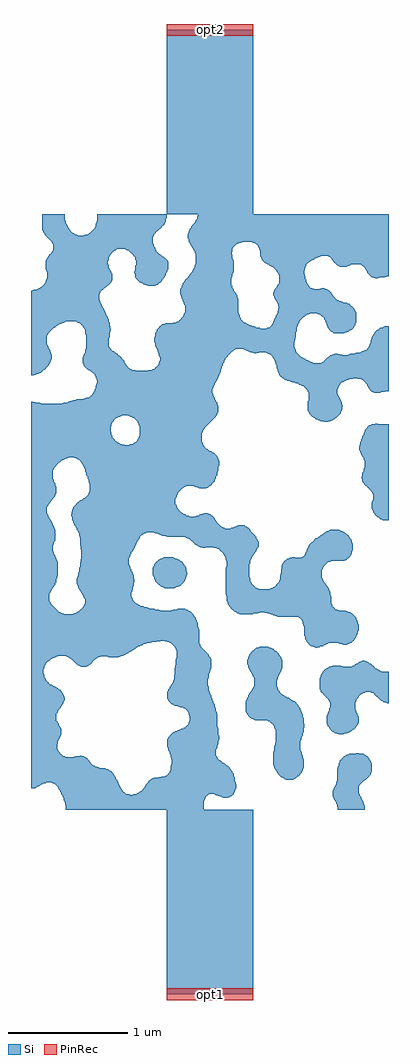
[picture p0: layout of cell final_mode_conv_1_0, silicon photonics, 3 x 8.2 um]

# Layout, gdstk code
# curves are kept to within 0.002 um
import gdstk
lib = gdstk.Library(unit=1e-6, precision=1e-09)
def R(c, l, rs):  # rectangles x0, y0, x1, y1
    for r in rs: c.add(gdstk.rectangle(r[:2], r[2:], *l))
def P(c, l, *ps):  # polygons
    for p in ps: c.add(gdstk.Polygon(p, *l))
Si = (1, 0)
PinRec = (1, 10)

final_mode_conv_1_0 = lib.new_cell('final_mode_conv_1_0')
R(final_mode_conv_1_0, Si, [(-0.363,-4.05,0.363,-2.5), (-0.363,2.5,0.363,4.05)])
P(final_mode_conv_1_0, Si, [(0.64,-2.249),(0.6,-2.228),(0.571,-2.2),(0.563,-2.19),(0.56,-2.179),(0.551,-2.17),(0.55,-2.16),(0.541,-2.15),(0.54,-2.136),(0.531,-2.12),(0.532,-2.02),(0.54,-2.003),(0.541,-1.97),(0.55,-1.946),(0.551,-1.93),(0.551,-1.83),(0.541,-1.81),(0.54,-1.8),(0.5,-1.759),(0.49,-1.758),(0.48,-1.75),(0.39,-1.749),(0.37,-1.746),(0.36,-1.739),(0.35,-1.739),(0.311,-1.7),(0.31,-1.69),(0.302,-1.68),(0.302,-1.59),(0.706,-1.59),(0.739,-1.62),(0.749,-1.64),(0.758,-1.65),(0.759,-1.66),(0.768,-1.67),(0.77,-1.69),(0.778,-1.7),(0.78,-1.723),(0.786,-1.73),(0.789,-1.74),(0.788,-1.85),(0.78,-1.861),(0.778,-1.88),(0.77,-1.89),(0.768,-1.91),(0.759,-1.93),(0.76,-2.003),(0.766,-2.01),(0.77,-2.035),(0.779,-2.05),(0.78,-2.068),(0.788,-2.08),(0.788,-2.15),(0.78,-2.161),(0.776,-2.18),(0.769,-2.19),(0.753,-2.21),(0.72,-2.239),(0.71,-2.24),(0.7,-2.248)],
  [(0.302,-1.59),(0.31,-1.575),(0.312,-1.56),(0.32,-1.551),(0.322,-1.54),(0.36,-1.487),(0.371,-1.46),(0.37,-1.392),(0.361,-1.38),(0.36,-1.37),(0.351,-1.36),(0.35,-1.353),(0.333,-1.33),(0.33,-1.318),(0.322,-1.31),(0.32,-1.289),(0.313,-1.28),(0.312,-1.25),(0.314,-1.24),(0.32,-1.233),(0.325,-1.21),(0.345,-1.18),(0.36,-1.164),(0.369,-1.16),(0.39,-1.142),(0.405,-1.14),(0.42,-1.131),(0.49,-1.132),(0.5,-1.14),(0.52,-1.145),(0.55,-1.164),(0.577,-1.19),(0.58,-1.198),(0.598,-1.22),(0.6,-1.233),(0.607,-1.24),(0.609,-1.25),(0.608,-1.31),(0.6,-1.323),(0.597,-1.34),(0.579,-1.37),(0.578,-1.38),(0.569,-1.39),(0.567,-1.41),(0.56,-1.419),(0.56,-1.46),(0.567,-1.47),(0.57,-1.49),(0.587,-1.51),(0.59,-1.519),(0.629,-1.55),(0.64,-1.552),(0.65,-1.561),(0.66,-1.562),(0.67,-1.571),(0.68,-1.572),(0.706,-1.59)],
  [(1.1,-1.869),(1.08,-1.867),(1.069,-1.86),(1.05,-1.858),(1.042,-1.85),(1.03,-1.845),(1.004,-1.82),(1,-1.81),(0.991,-1.8),(0.99,-1.79),(0.982,-1.78),(0.982,-1.71),(0.99,-1.701),(0.992,-1.68),(1.001,-1.67),(1.002,-1.65),(1.01,-1.638),(1.01,-1.608),(0.991,-1.57),(0.932,-1.51),(0.93,-1.497),(0.923,-1.49),(0.922,-1.4),(0.93,-1.386),(0.931,-1.37),(0.94,-1.358),(0.941,-1.35),(0.98,-1.311),(0.989,-1.31),(1,-1.301),(1.014,-1.3),(1.03,-1.292),(1.09,-1.291),(1.1,-1.292),(1.12,-1.301),(1.19,-1.3),(1.2,-1.292),(1.21,-1.29),(1.25,-1.262),(1.262,-1.26),(1.27,-1.253),(1.28,-1.251),(1.31,-1.252),(1.32,-1.26),(1.33,-1.261),(1.34,-1.27),(1.35,-1.273),(1.401,-1.32),(1.41,-1.322),(1.42,-1.331),(1.43,-1.332),(1.44,-1.34),(1.5,-1.343),(1.5,-1.605),(1.46,-1.599),(1.45,-1.59),(1.44,-1.587),(1.37,-1.52),(1.36,-1.519),(1.346,-1.51),(1.309,-1.51),(1.3,-1.517),(1.287,-1.52),(1.28,-1.527),(1.27,-1.53),(1.25,-1.55),(1.24,-1.564),(1.239,-1.57),(1.23,-1.579),(1.229,-1.59),(1.219,-1.61),(1.22,-1.654),(1.229,-1.67),(1.229,-1.68),(1.238,-1.69),(1.24,-1.705),(1.249,-1.72),(1.247,-1.78),(1.225,-1.81),(1.19,-1.839),(1.163,-1.85),(1.15,-1.859),(1.131,-1.86),(1.12,-1.867)],
  [(1.073,-2.5),(1.071,-2.46),(1.062,-2.45),(1.061,-2.44),(1.051,-2.43),(1.05,-2.422),(1.032,-2.39),(1.031,-2.35),(1.033,-2.34),(1.041,-2.33),(1.041,-2.32),(1.05,-2.31),(1.051,-2.3),(1.06,-2.288),(1.062,-2.27),(1.07,-2.257),(1.071,-2.16),(1.074,-2.14),(1.08,-2.132),(1.082,-2.11),(1.09,-2.101),(1.092,-2.09),(1.13,-2.051),(1.15,-2.041),(1.161,-2.04),(1.17,-2.033),(1.222,-2.03),(1.24,-2.026),(1.29,-2.033),(1.298,-2.04),(1.31,-2.044),(1.337,-2.07),(1.34,-2.081),(1.349,-2.09),(1.349,-2.1),(1.357,-2.11),(1.359,-2.12),(1.359,-2.18),(1.356,-2.19),(1.35,-2.197),(1.347,-2.21),(1.31,-2.248),(1.29,-2.259),(1.27,-2.278),(1.259,-2.29),(1.249,-2.31),(1.25,-2.362),(1.257,-2.37),(1.26,-2.384),(1.266,-2.39),(1.27,-2.403),(1.277,-2.41),(1.28,-2.423),(1.287,-2.43),(1.29,-2.451),(1.297,-2.46),(1.299,-2.47),(1.299,-2.5)],
  [(1.48,-0.07),(1.45,-0.068),(1.441,-0.06),(1.43,-0.059),(1.4,-0.036),(1.371,0),(1.371,0.01),(1.363,0.02),(1.361,0.03),(1.361,0.08),(1.362,0.09),(1.37,0.106),(1.37,0.151),(1.363,0.16),(1.36,0.172),(1.282,0.25),(1.28,0.269),(1.274,0.28),(1.273,0.29),(1.28,0.308),(1.281,0.33),(1.29,0.345),(1.291,0.36),(1.301,0.38),(1.301,0.43),(1.293,0.44),(1.29,0.454),(1.284,0.46),(1.281,0.47),(1.272,0.48),(1.27,0.491),(1.262,0.5),(1.26,0.515),(1.253,0.53),(1.253,0.55),(1.26,0.563),(1.264,0.59),(1.27,0.596),(1.272,0.61),(1.28,0.62),(1.283,0.64),(1.291,0.65),(1.291,0.66),(1.3,0.675),(1.304,0.69),(1.34,0.728),(1.35,0.73),(1.36,0.738),(1.5,0.739),(1.5,-0.07)],
  [(-1.21,-2.5),(-1.21,-2.471),(-1.216,-2.46),(-1.22,-2.429),(-1.228,-2.42),(-1.23,-2.404),(-1.239,-2.39),(-1.24,-2.38),(-1.249,-2.37),(-1.25,-2.36),(-1.259,-2.35),(-1.26,-2.34),(-1.276,-2.32),(-1.28,-2.309),(-1.313,-2.28),(-1.33,-2.276),(-1.338,-2.27),(-1.371,-2.27),(-1.38,-2.277),(-1.401,-2.28),(-1.41,-2.289),(-1.42,-2.29),(-1.44,-2.306),(-1.454,-2.31),(-1.46,-2.316),(-1.5,-2.32),(-1.5,-2.15),(-0.93,-2.15),(-0.88,-2.153),(-0.871,-2.16),(-0.86,-2.161),(-0.84,-2.172),(-0.803,-2.21),(-0.801,-2.22),(-0.791,-2.23),(-0.79,-2.24),(-0.781,-2.25),(-0.78,-2.26),(-0.771,-2.27),(-0.77,-2.281),(-0.762,-2.29),(-0.761,-2.3),(-0.752,-2.31),(-0.751,-2.32),(-0.741,-2.33),(-0.73,-2.349),(-0.7,-2.371),(-0.66,-2.379),(-0.62,-2.371),(-0.585,-2.35),(-0.57,-2.337),(-0.54,-2.297),(-0.539,-2.29),(-0.514,-2.26),(-0.49,-2.241),(-0.47,-2.231),(-0.42,-2.23),(-0.4,-2.223),(-0.375,-2.22),(-0.36,-2.211),(-0.34,-2.189),(-0.339,-2.18),(-0.33,-2.166),(-0.329,-2.15),(0.167,-2.15),(0.188,-2.18),(0.19,-2.192),(0.198,-2.2),(0.2,-2.221),(0.208,-2.23),(0.21,-2.262),(0.218,-2.28),(0.219,-2.32),(0.205,-2.36),(0.18,-2.387),(0.169,-2.39),(0.16,-2.398),(0.11,-2.399),(0.1,-2.396),(0.094,-2.39),(0.08,-2.389),(0.068,-2.38),(0.05,-2.378),(0.041,-2.37),(-0.009,-2.37),(-0.023,-2.38),(-0.041,-2.4),(-0.042,-2.41),(-0.05,-2.425),(-0.051,-2.5)],
  [(-1.5,-2.15),(-1.5,-1.67),(-1.273,-1.67),(-1.28,-1.677),(-1.284,-1.69),(-1.291,-1.7),(-1.291,-1.75),(-1.283,-1.76),(-1.28,-1.772),(-1.272,-1.78),(-1.27,-1.791),(-1.261,-1.8),(-1.26,-1.808),(-1.251,-1.82),(-1.25,-1.85),(-1.253,-1.88),(-1.26,-1.888),(-1.262,-1.9),(-1.27,-1.908),(-1.273,-1.92),(-1.281,-1.93),(-1.285,-1.97),(-1.28,-2),(-1.26,-2.029),(-1.232,-2.05),(-1.22,-2.053),(-1.21,-2.061),(-1.15,-2.061),(-1.13,-2.051),(-1.09,-2.047),(-1.06,-2.051),(-1.03,-2.072),(-1.014,-2.09),(-1.01,-2.1),(-0.98,-2.131),(-0.97,-2.133),(-0.963,-2.14),(-0.94,-2.145),(-0.933,-2.15)],
  [(-0.329,-2.15),(-0.32,-2.095),(-0.329,-2.06),(-0.33,-2.039),(-0.338,-2.03),(-0.34,-2.015),(-0.349,-2),(-0.35,-1.988),(-0.357,-1.98),(-0.358,-1.91),(-0.35,-1.901),(-0.348,-1.89),(-0.31,-1.852),(-0.299,-1.85),(-0.29,-1.841),(-0.28,-1.841),(-0.27,-1.833),(-0.249,-1.83),(-0.24,-1.822),(-0.226,-1.82),(-0.22,-1.814),(-0.21,-1.811),(-0.18,-1.78),(-0.176,-1.76),(-0.17,-1.752),(-0.169,-1.72),(-0.178,-1.7),(-0.18,-1.687),(-0.187,-1.68),(-0.19,-1.67),(0.05,-1.67),(0.056,-1.68),(0.059,-1.7),(0.06,-1.8),(0.068,-1.82),(0.07,-1.869),(0.076,-1.88),(0.077,-1.89),(0.077,-1.91),(0.07,-1.926),(0.069,-1.95),(0.066,-1.96),(0.06,-1.966),(0.057,-1.99),(0.05,-1.999),(0.05,-2.043),(0.072,-2.08),(0.112,-2.11),(0.12,-2.111),(0.13,-2.121),(0.15,-2.133),(0.167,-2.15)],
  [(-1.5,-1.67),(-1.5,-1.24),(-1.342,-1.24),(-1.37,-1.261),(-1.39,-1.29),(-1.392,-1.31),(-1.4,-1.329),(-1.4,-1.352),(-1.392,-1.37),(-1.391,-1.39),(-1.382,-1.4),(-1.38,-1.411),(-1.34,-1.45),(-1.33,-1.452),(-1.322,-1.46),(-1.31,-1.463),(-1.302,-1.47),(-1.29,-1.474),(-1.27,-1.49),(-1.26,-1.494),(-1.244,-1.51),(-1.24,-1.52),(-1.231,-1.53),(-1.23,-1.54),(-1.223,-1.55),(-1.222,-1.58),(-1.23,-1.593),(-1.233,-1.61),(-1.25,-1.632),(-1.252,-1.64),(-1.271,-1.66),(-1.273,-1.67)],
  [(-1.06,-1.3),(-1.09,-1.298),(-1.1,-1.289),(-1.11,-1.287),(-1.16,-1.24),(-0.97,-1.24),(-1,-1.275),(-1.03,-1.298)],
  [(-0.19,-1.67),(-0.2,-1.659),(-0.233,-1.64),(-0.26,-1.637),(-0.269,-1.63),(-0.29,-1.629),(-0.32,-1.616),(-0.347,-1.59),(-0.35,-1.579),(-0.358,-1.57),(-0.358,-1.51),(-0.35,-1.502),(-0.349,-1.49),(-0.34,-1.481),(-0.338,-1.47),(-0.31,-1.43),(-0.306,-1.41),(-0.299,-1.4),(-0.295,-1.31),(-0.29,-1.292),(-0.288,-1.24),(0.009,-1.24),(0.012,-1.27),(0.008,-1.32),(0,-1.329),(-0.002,-1.35),(-0.01,-1.36),(-0.012,-1.39),(-0.02,-1.406),(-0.02,-1.451),(-0.014,-1.46),(-0.01,-1.497),(-0.001,-1.51),(0,-1.527),(0.009,-1.54),(0.009,-1.55),(0.016,-1.56),(0.02,-1.581),(0.028,-1.59),(0.03,-1.605),(0.039,-1.62),(0.04,-1.634),(0.046,-1.64),(0.05,-1.67)],
  [(-1.5,-1.24),(-1.5,-0.98),(-0.094,-0.98),(-0.091,-1.01),(-0.09,-1.103),(-0.084,-1.11),(-0.08,-1.127),(-0.071,-1.14),(-0.012,-1.2),(0.007,-1.23),(0.009,-1.24),(-0.288,-1.24),(-0.28,-1.225),(-0.279,-1.17),(-0.289,-1.15),(-0.29,-1.139),(-0.33,-1.099),(-0.34,-1.097),(-0.35,-1.089),(-0.37,-1.088),(-0.4,-1.081),(-0.43,-1.087),(-0.481,-1.09),(-0.5,-1.099),(-0.526,-1.1),(-0.54,-1.108),(-0.56,-1.11),(-0.57,-1.119),(-0.58,-1.119),(-0.59,-1.128),(-0.6,-1.129),(-0.61,-1.138),(-0.62,-1.14),(-0.64,-1.157),(-0.651,-1.16),(-0.67,-1.176),(-0.68,-1.179),(-0.69,-1.188),(-0.701,-1.19),(-0.71,-1.199),(-0.72,-1.199),(-0.73,-1.208),(-0.751,-1.21),(-0.76,-1.217),(-0.77,-1.219),(-0.85,-1.219),(-0.86,-1.218),(-0.878,-1.21),(-0.912,-1.21),(-0.92,-1.215),(-0.942,-1.22),(-0.97,-1.24),(-1.16,-1.24),(-1.188,-1.22),(-1.2,-1.217),(-1.21,-1.209),(-1.27,-1.209),(-1.278,-1.21),(-1.29,-1.218),(-1.305,-1.22),(-1.31,-1.225),(-1.327,-1.23),(-1.342,-1.24)],
  [(0.89,-1.139),(0.85,-1.127),(0.812,-1.09),(0.81,-1.079),(0.802,-1.07),(0.8,-1.051),(0.792,-1.04),(0.79,-0.98),(1.249,-0.98),(1.246,-1),(1.24,-1.008),(1.238,-1.03),(1.23,-1.039),(1.229,-1.05),(1.219,-1.06),(1.208,-1.08),(1.19,-1.097),(1.18,-1.1),(1.17,-1.109),(1.13,-1.117),(1.113,-1.11),(1.09,-1.108),(1.07,-1.099),(0.999,-1.1),(0.99,-1.108),(0.977,-1.11),(0.97,-1.116),(0.956,-1.12),(0.95,-1.126),(0.928,-1.13),(0.92,-1.136)],
  [(-1.5,-0.98),(-1.5,-0.78),(-1.33,-0.78),(-1.27,-0.84),(-1.26,-0.842),(-1.25,-0.851),(-1.24,-0.851),(-1.22,-0.861),(-1.17,-0.861),(-1.17,-0.98)],
  [(-1.17,-0.98),(-1.17,-0.861),(-1.159,-0.86),(-1.15,-0.853),(-1.129,-0.85),(-1.12,-0.841),(-1.109,-0.84),(-1.07,-0.805),(-1.059,-0.79),(-1.058,-0.78),(-0.688,-0.78),(-0.688,-0.98)],
  [(-0.688,-0.98),(-0.688,-0.78),(-0.59,-0.782),(-0.58,-0.791),(-0.56,-0.793),(-0.552,-0.8),(-0.52,-0.803),(-0.509,-0.81),(-0.47,-0.813),(-0.461,-0.82),(-0.43,-0.822),(-0.41,-0.831),(-0.33,-0.831),(-0.31,-0.822),(-0.279,-0.82),(-0.27,-0.814),(-0.26,-0.812),(-0.21,-0.813),(-0.202,-0.82),(-0.19,-0.821),(-0.178,-0.83),(-0.17,-0.832),(-0.132,-0.87),(-0.13,-0.88),(-0.121,-0.89),(-0.12,-0.9),(-0.111,-0.91),(-0.11,-0.924),(-0.104,-0.93),(-0.1,-0.968),(-0.094,-0.98)],
  [(0.79,-0.98),(0.78,-0.922),(0.77,-0.906),(0.74,-0.88),(0.68,-0.878),(0.61,-0.882),(0.57,-0.879),(0.56,-0.877),(0.551,-0.87),(0.53,-0.867),(0.523,-0.86),(0.51,-0.859),(0.495,-0.85),(0.47,-0.848),(0.44,-0.841),(0.41,-0.848),(0.371,-0.85),(0.36,-0.858),(0.35,-0.859),(0.25,-0.858),(0.24,-0.85),(0.23,-0.849),(0.21,-0.839),(0.19,-0.823),(0.176,-0.81),(0.153,-0.78),(1.028,-0.78),(1.029,-0.79),(1.059,-0.82),(1.08,-0.824),(1.089,-0.83),(1.15,-0.832),(1.162,-0.84),(1.18,-0.843),(1.19,-0.851),(1.228,-0.89),(1.229,-0.9),(1.238,-0.91),(1.24,-0.933),(1.246,-0.94),(1.248,-0.95),(1.249,-0.98)],
  [(-1.5,-0.78),(-1.5,-0.47),(-1.281,-0.47),(-1.281,-0.53),(-1.283,-0.55),(-1.29,-0.566),(-1.291,-0.59),(-1.3,-0.601),(-1.301,-0.61),(-1.31,-0.62),(-1.312,-0.63),(-1.33,-0.65),(-1.332,-0.66),(-1.34,-0.668),(-1.351,-0.69),(-1.35,-0.745),(-1.33,-0.78)],
  [(-1.058,-0.78),(-1.05,-0.769),(-1.05,-0.736),(-1.059,-0.72),(-1.059,-0.71),(-1.069,-0.7),(-1.07,-0.692),(-1.088,-0.67),(-1.09,-0.662),(-1.105,-0.64),(-1.11,-0.618),(-1.116,-0.61),(-1.118,-0.6),(-1.117,-0.55),(-1.11,-0.54),(-1.108,-0.51),(-1.1,-0.5),(-1.097,-0.47),(-0.688,-0.47),(-0.688,-0.78)],
  [(-0.688,-0.78),(-0.688,-0.47),(-0.671,-0.47),(-0.662,-0.48),(-0.66,-0.493),(-0.653,-0.5),(-0.65,-0.517),(-0.641,-0.53),(-0.64,-0.557),(-0.635,-0.57),(-0.635,-0.58),(-0.64,-0.593),(-0.641,-0.62),(-0.651,-0.64),(-0.652,-0.66),(-0.66,-0.678),(-0.66,-0.705),(-0.652,-0.72),(-0.65,-0.733),(-0.64,-0.75),(-0.62,-0.77),(-0.61,-0.772),(-0.602,-0.78)],
  [(0.153,-0.78),(0.15,-0.762),(0.142,-0.75),(0.14,-0.713),(0.132,-0.68),(0.133,-0.47),(0.329,-0.47),(0.33,-0.544),(0.338,-0.56),(0.34,-0.581),(0.348,-0.59),(0.35,-0.601),(0.38,-0.631),(0.395,-0.64),(0.41,-0.643),(0.418,-0.65),(0.43,-0.651),(0.499,-0.65),(0.51,-0.642),(0.52,-0.641),(0.53,-0.633),(0.54,-0.631),(0.571,-0.6),(0.591,-0.56),(0.593,-0.52),(0.6,-0.49),(0.601,-0.47),(0.949,-0.47),(0.939,-0.49),(0.94,-0.552),(0.947,-0.56),(0.95,-0.573),(0.957,-0.58),(0.959,-0.59),(0.969,-0.6),(0.98,-0.621),(0.996,-0.64),(1,-0.655),(1.009,-0.67),(1.01,-0.691),(1.016,-0.7),(1.018,-0.71),(1.02,-0.766),(1.028,-0.78)],
  [(-1.5,-0.47),(-1.5,-0.26),(-1.311,-0.26),(-1.315,-0.28),(-1.32,-0.288),(-1.32,-0.323),(-1.315,-0.33),(-1.31,-0.353),(-1.303,-0.36),(-1.3,-0.373),(-1.294,-0.38),(-1.29,-0.398),(-1.282,-0.41),(-1.281,-0.47)],
  [(-1.097,-0.47),(-1.09,-0.461),(-1.087,-0.41),(-1.08,-0.39),(-1.08,-0.326),(-1.086,-0.3),(-1.089,-0.26),(-0.688,-0.26),(-0.688,-0.47)],
  [(-0.688,-0.47),(-0.688,-0.26),(-0.614,-0.26),(-0.62,-0.266),(-0.623,-0.28),(-0.63,-0.288),(-0.633,-0.3),(-0.66,-0.34),(-0.661,-0.35),(-0.67,-0.359),(-0.671,-0.37),(-0.68,-0.386),(-0.681,-0.44),(-0.671,-0.46),(-0.671,-0.47)],
  [(0.133,-0.47),(0.14,-0.45),(0.14,-0.423),(0.132,-0.4),(0.131,-0.38),(0.122,-0.37),(0.121,-0.36),(0.07,-0.31),(0.06,-0.309),(0.05,-0.3),(0,-0.295),(-0.04,-0.299),(-0.08,-0.297),(-0.089,-0.29),(-0.1,-0.289),(-0.11,-0.28),(-0.12,-0.277),(-0.138,-0.26),(0.409,-0.26),(0.408,-0.29),(0.4,-0.3),(0.399,-0.31),(0.39,-0.32),(0.388,-0.33),(0.37,-0.35),(0.366,-0.36),(0.35,-0.38),(0.349,-0.39),(0.34,-0.404),(0.337,-0.43),(0.33,-0.442),(0.329,-0.47)],
  [(0.601,-0.47),(0.601,-0.45),(0.61,-0.438),(0.611,-0.43),(0.65,-0.392),(0.69,-0.382),(0.74,-0.384),(0.77,-0.381),(0.788,-0.37),(0.81,-0.333),(0.811,-0.32),(0.82,-0.307),(0.824,-0.29),(0.849,-0.26),(1.197,-0.26),(1.199,-0.32),(1.197,-0.33),(1.19,-0.339),(1.186,-0.36),(1.17,-0.38),(1.14,-0.407),(1.11,-0.41),(1.017,-0.41),(1.01,-0.416),(0.992,-0.42),(0.98,-0.429),(0.959,-0.45),(0.949,-0.47)],
  [(-1.5,-0.26),(-1.5,-0.041),(-1.353,-0.041),(-1.351,-0.05),(-1.342,-0.06),(-1.34,-0.07),(-1.325,-0.09),(-1.301,-0.15),(-1.298,-0.19),(-1.301,-0.23),(-1.302,-0.24),(-1.31,-0.25),(-1.311,-0.26)],
  [(-1.089,-0.26),(-1.09,-0.219),(-1.099,-0.2),(-1.1,-0.18),(-1.109,-0.17),(-1.109,-0.16),(-1.118,-0.15),(-1.119,-0.14),(-1.128,-0.13),(-1.129,-0.12),(-1.139,-0.11),(-1.14,-0.1),(-1.149,-0.09),(-1.15,-0.078),(-1.158,-0.07),(-1.16,-0.041),(-0.688,-0.041),(-0.688,-0.26)],
  [(-0.688,-0.26),(-0.688,-0.041),(0.028,-0.041),(0.04,-0.061),(0.057,-0.08),(0.06,-0.09),(0.08,-0.111),(0.107,-0.13),(0.12,-0.132),(0.132,-0.14),(0.171,-0.14),(0.18,-0.134),(0.2,-0.131),(0.21,-0.122),(0.225,-0.12),(0.24,-0.111),(0.29,-0.113),(0.32,-0.133),(0.379,-0.2),(0.399,-0.23),(0.4,-0.239),(0.408,-0.25),(0.409,-0.26),(-0.138,-0.26),(-0.17,-0.229),(-0.18,-0.226),(-0.187,-0.22),(-0.2,-0.218),(-0.213,-0.21),(-0.36,-0.208),(-0.377,-0.2),(-0.4,-0.199),(-0.416,-0.19),(-0.43,-0.189),(-0.444,-0.18),(-0.46,-0.179),(-0.477,-0.17),(-0.49,-0.169),(-0.532,-0.17),(-0.54,-0.177),(-0.554,-0.18),(-0.56,-0.186),(-0.571,-0.19),(-0.59,-0.21),(-0.592,-0.22),(-0.6,-0.228),(-0.61,-0.246),(-0.614,-0.26)],
  [(0.849,-0.26),(0.89,-0.222),(0.9,-0.22),(0.92,-0.202),(0.927,-0.2),(0.98,-0.163),(0.995,-0.16),(1.01,-0.151),(1.04,-0.15),(1.09,-0.152),(1.101,-0.16),(1.11,-0.161),(1.13,-0.171),(1.164,-0.2),(1.186,-0.23),(1.19,-0.251),(1.197,-0.26)],
  [(-1.5,-0.041),(-1.5,0.35),(-1.32,0.35),(-1.321,0.28),(-1.313,0.27),(-1.31,0.249),(-1.302,0.24),(-1.3,0.223),(-1.292,0.21),(-1.291,0.16),(-1.3,0.144),(-1.303,0.13),(-1.361,0.06),(-1.362,0.05),(-1.37,0.041),(-1.37,-0.01),(-1.362,-0.02),(-1.36,-0.033),(-1.353,-0.041)],
  [(-1.16,-0.041),(-1.165,-0.02),(-1.16,-0.005),(-1.159,0.02),(-1.15,0.03),(-1.149,0.04),(-1.12,0.072),(-1.09,0.098),(-1.08,0.1),(-1.06,0.117),(-1.05,0.12),(-1.04,0.129),(-1.02,0.152),(-1.019,0.16),(-1.01,0.173),(-1.01,0.236),(-1.018,0.25),(-1.02,0.27),(-1.028,0.28),(-1.03,0.299),(-1.038,0.31),(-1.04,0.329),(-1.048,0.34),(-1.049,0.35),(-0.688,0.35),(-0.688,-0.041)],
  [(-0.688,-0.041),(-0.688,0.35),(0.069,0.35),(0.066,0.34),(0.06,0.333),(0.059,0.31),(0.05,0.295),(0.048,0.28),(0.04,0.271),(0.038,0.26),(0.01,0.226),(-0.02,0.204),(-0.06,0.197),(-0.1,0.202),(-0.11,0.21),(-0.13,0.212),(-0.14,0.22),(-0.201,0.22),(-0.21,0.212),(-0.221,0.21),(-0.25,0.182),(-0.28,0.14),(-0.283,0.12),(-0.29,0.11),(-0.291,0.1),(-0.29,0.067),(-0.281,0.05),(-0.28,0.039),(-0.257,0.01),(-0.22,-0.02),(-0.21,-0.021),(-0.201,-0.03),(-0.18,-0.033),(-0.17,-0.04),(-0.16,-0.041)],
  [(-0.14,-0.041),(-0.128,-0.04),(-0.11,-0.031),(-0.095,-0.03),(-0.09,-0.025),(-0.08,-0.021),(-0.067,-0.02),(-0.06,-0.014),(-0.04,-0.011),(-0.01,-0.015),(0.01,-0.026),(0.028,-0.041)],
  [(-1.5,0.35),(-1.5,0.809),(-0.743,0.809),(-0.75,0.804),(-0.771,0.8),(-0.78,0.791),(-0.786,0.79),(-0.81,0.77),(-0.82,0.754),(-0.831,0.73),(-0.831,0.66),(-0.83,0.652),(-0.821,0.64),(-0.82,0.63),(-0.8,0.605),(-0.77,0.579),(-0.76,0.577),(-0.75,0.569),(-0.73,0.567),(-0.714,0.56),(-0.688,0.56),(-0.688,0.35),(-1.049,0.35),(-1.05,0.36),(-1.058,0.37),(-1.06,0.383),(-1.067,0.39),(-1.07,0.402),(-1.078,0.41),(-1.08,0.42),(-1.089,0.43),(-1.1,0.44),(-1.11,0.443),(-1.12,0.451),(-1.13,0.452),(-1.145,0.46),(-1.16,0.461),(-1.183,0.46),(-1.19,0.455),(-1.214,0.45),(-1.233,0.44),(-1.24,0.433),(-1.251,0.43),(-1.31,0.371),(-1.312,0.36),(-1.32,0.35)],
  [(-0.688,0.35),(-0.688,0.56),(-0.67,0.568),(-0.65,0.57),(-0.62,0.59),(-0.6,0.618),(-0.598,0.63),(-0.59,0.639),(-0.589,0.65),(-0.59,0.721),(-0.598,0.73),(-0.6,0.743),(-0.606,0.75),(-0.609,0.76),(-0.64,0.791),(-0.65,0.793),(-0.657,0.8),(-0.67,0.802),(-0.683,0.809),(0.05,0.809),(0.048,0.8),(0.039,0.79),(-0.05,0.7),(-0.052,0.69),(-0.061,0.68),(-0.062,0.67),(-0.07,0.661),(-0.071,0.6),(-0.07,0.589),(-0.062,0.58),(-0.061,0.57),(-0.041,0.54),(0,0.51),(0.01,0.509),(0.019,0.5),(0.03,0.497),(0.067,0.46),(0.07,0.444),(0.078,0.43),(0.079,0.41),(0.077,0.39),(0.07,0.38),(0.069,0.35)],
  [(0.96,0.76),(0.93,0.763),(0.92,0.771),(0.91,0.771),(0.9,0.78),(0.89,0.781),(0.881,0.79),(0.87,0.793),(0.852,0.809),(1.078,0.809),(1.05,0.782),(1.01,0.761)],
  [(-1.5,0.809),(-1.5,0.926),(-1.474,0.92),(-1.43,0.918),(-1.415,0.91),(-1.26,0.909),(-1.248,0.91),(-1.23,0.918),(-1.196,0.92),(-1.18,0.929),(-1.164,0.93),(-1.15,0.939),(-1.129,0.94),(-1.12,0.947),(-1.058,0.95),(-1.04,0.958),(-1.02,0.96),(-0.99,0.986),(-0.979,1),(-0.977,1.01),(-0.97,1.017),(-0.968,1.03),(-0.96,1.041),(-0.957,1.07),(-0.95,1.08),(-0.949,1.095),(0.05,1.095),(0.049,1.09),(0.04,1.081),(0.038,1.07),(0.03,1.061),(0.027,1.04),(0.02,1.028),(0.02,1.002),(0.027,0.99),(0.03,0.969),(0.039,0.96),(0.04,0.949),(0.049,0.94),(0.05,0.93),(0.059,0.92),(0.06,0.908),(0.067,0.9),(0.069,0.89),(0.068,0.84),(0.06,0.831),(0.059,0.82),(0.05,0.809)],
  [(0.852,0.809),(0.833,0.83),(0.83,0.841),(0.822,0.85),(0.821,0.92),(0.822,0.93),(0.83,0.942),(0.831,0.99),(0.83,1),(0.822,1.01),(0.821,1.02),(0.78,1.06),(0.77,1.061),(0.761,1.07),(0.75,1.071),(0.74,1.08),(0.72,1.083),(0.712,1.09),(0.682,1.095),(1.122,1.095),(1.11,1.09),(1.09,1.07),(1.08,1.054),(1.077,1.04),(1.07,1.032),(1.07,0.996),(1.079,0.98),(1.08,0.969),(1.089,0.96),(1.09,0.95),(1.099,0.94),(1.1,0.932),(1.109,0.92),(1.11,0.899),(1.114,0.89),(1.108,0.85),(1.099,0.84),(1.097,0.83),(1.089,0.82),(1.078,0.809)],
  [(1.39,1.001),(1.38,1.002),(1.36,1.012),(1.341,1.03),(1.333,1.04),(1.33,1.051),(1.321,1.06),(1.32,1.07),(1.3,1.095),(1.5,1.095),(1.5,1.016),(1.44,1.01),(1.43,1.003),(1.42,1.001)],
  [(-1.5,1.151),(-1.5,1.286),(-1.331,1.286),(-1.332,1.28),(-1.34,1.271),(-1.341,1.26),(-1.35,1.247),(-1.351,1.24),(-1.38,1.205),(-1.42,1.172),(-1.431,1.17),(-1.44,1.161),(-1.455,1.16),(-1.47,1.152)],
  [(-0.949,1.095),(-0.95,1.116),(-0.958,1.13),(-0.959,1.14),(-0.968,1.15),(-0.97,1.157),(-1.009,1.19),(-1.02,1.193),(-1.03,1.201),(-1.059,1.23),(-1.069,1.25),(-1.069,1.286),(-0.736,1.286),(-0.722,1.27),(-0.72,1.259),(-0.711,1.25),(-0.71,1.241),(-0.69,1.217),(-0.67,1.199),(-0.66,1.198),(-0.651,1.19),(-0.6,1.187),(-0.5,1.189),(-0.48,1.199),(-0.47,1.2),(-0.43,1.241),(-0.428,1.26),(-0.42,1.277),(-0.42,1.286),(0.13,1.286),(0.129,1.28),(0.12,1.271),(0.119,1.26),(0.11,1.25),(0.106,1.23),(0.099,1.22),(0.096,1.2),(0.089,1.19),(0.087,1.17),(0.079,1.16),(0.079,1.15),(0.05,1.095)],
  [(0.682,1.095),(0.675,1.1),(0.65,1.102),(0.641,1.11),(0.63,1.111),(0.62,1.12),(0.61,1.122),(0.583,1.15),(0.58,1.162),(0.572,1.17),(0.57,1.191),(0.563,1.2),(0.56,1.231),(0.553,1.24),(0.55,1.261),(0.542,1.27),(0.541,1.28),(0.536,1.286),(0.8,1.286),(0.806,1.28),(0.846,1.26),(0.86,1.257),(0.87,1.249),(0.89,1.248),(0.933,1.25),(0.94,1.257),(0.95,1.26),(0.977,1.286),(1.5,1.286),(1.5,1.095),(1.3,1.095),(1.283,1.11),(1.265,1.12),(1.23,1.122),(1.175,1.12),(1.16,1.111),(1.147,1.11),(1.122,1.095)],
  [(-1.5,1.286),(-1.5,1.456),(-1.372,1.456),(-1.37,1.409),(-1.362,1.4),(-1.361,1.39),(-1.343,1.36),(-1.34,1.342),(-1.332,1.33),(-1.331,1.286)],
  [(-1.069,1.286),(-1.066,1.31),(-1.06,1.317),(-1.058,1.33),(-1.05,1.34),(-1.048,1.36),(-1.04,1.372),(-1.039,1.456),(-0.85,1.456),(-0.851,1.4),(-0.84,1.376),(-0.827,1.36),(-0.8,1.339),(-0.78,1.329),(-0.75,1.305),(-0.736,1.286)],
  [(-0.42,1.286),(-0.43,1.334),(-0.439,1.35),(-0.44,1.36),(-0.449,1.37),(-0.449,1.38),(-0.457,1.39),(-0.46,1.414),(-0.467,1.43),(-0.468,1.456),(0.717,1.456),(0.71,1.44),(0.709,1.39),(0.71,1.377),(0.719,1.36),(0.72,1.349),(0.74,1.324),(0.77,1.299),(0.78,1.297),(0.787,1.29),(0.8,1.286),(0.536,1.286),(0.521,1.31),(0.51,1.32),(0.474,1.34),(0.42,1.341),(0.403,1.34),(0.39,1.335),(0.37,1.335),(0.36,1.34),(0.34,1.341),(0.327,1.35),(0.31,1.355),(0.305,1.36),(0.29,1.363),(0.28,1.371),(0.25,1.372),(0.219,1.37),(0.21,1.362),(0.2,1.361),(0.17,1.335),(0.13,1.286)],
  [(0.977,1.286),(1.01,1.316),(1.028,1.32),(1.04,1.327),(1.08,1.327),(1.099,1.32),(1.162,1.32),(1.18,1.328),(1.21,1.329),(1.23,1.338),(1.26,1.339),(1.27,1.346),(1.29,1.349),(1.3,1.358),(1.309,1.36),(1.33,1.38),(1.332,1.39),(1.34,1.398),(1.342,1.41),(1.35,1.42),(1.351,1.44),(1.36,1.456),(1.5,1.456),(1.5,1.286)],
  [(-1.5,1.456),(-1.5,1.6),(-1.215,1.6),(-1.23,1.591),(-1.24,1.591),(-1.25,1.582),(-1.26,1.581),(-1.27,1.572),(-1.281,1.57),(-1.3,1.553),(-1.31,1.55),(-1.32,1.541),(-1.36,1.5),(-1.362,1.49),(-1.371,1.48),(-1.372,1.456)],
  [(-1.039,1.456),(-1.04,1.48),(-1.048,1.5),(-1.05,1.53),(-1.058,1.54),(-1.059,1.55),(-1.086,1.58),(-1.1,1.591),(-1.11,1.592),(-1.119,1.6),(-0.85,1.6),(-0.842,1.59),(-0.84,1.554),(-0.834,1.53),(-0.84,1.51),(-0.842,1.47),(-0.85,1.456)],
  [(-0.468,1.456),(-0.466,1.47),(-0.46,1.479),(-0.459,1.5),(-0.456,1.51),(-0.45,1.516),(-0.448,1.53),(-0.422,1.56),(-0.4,1.578),(-0.378,1.58),(-0.36,1.586),(-0.29,1.589),(-0.28,1.597),(-0.268,1.6),(0.279,1.6),(0.29,1.59),(0.3,1.588),(0.31,1.579),(0.32,1.578),(0.329,1.57),(0.35,1.566),(0.356,1.56),(0.38,1.557),(0.388,1.55),(0.41,1.549),(0.43,1.54),(0.46,1.539),(0.46,1.456)],
  [(0.46,1.456),(0.46,1.539),(0.471,1.54),(0.48,1.546),(0.496,1.55),(0.51,1.56),(0.52,1.57),(0.522,1.58),(0.53,1.588),(0.532,1.6),(0.75,1.6),(0.749,1.59),(0.74,1.58),(0.736,1.56),(0.729,1.55),(0.727,1.52),(0.72,1.507),(0.717,1.456)],
  [(1.08,1.5),(1.04,1.503),(1.01,1.523),(0.985,1.56),(0.981,1.58),(0.973,1.59),(0.971,1.6),(1.229,1.6),(1.229,1.59),(1.22,1.577),(1.219,1.57),(1.21,1.56),(1.207,1.55),(1.19,1.533),(1.16,1.513),(1.14,1.51),(1.13,1.502)],
  [(1.36,1.456),(1.361,1.47),(1.37,1.481),(1.371,1.49),(1.38,1.499),(1.384,1.51),(1.4,1.526),(1.43,1.547),(1.451,1.55),(1.46,1.557),(1.5,1.559),(1.5,1.456)],
  [(-1.5,1.6),(-1.5,1.85),(-0.92,1.85),(-0.922,1.84),(-0.93,1.83),(-0.93,1.783),(-0.922,1.77),(-0.92,1.756),(-0.914,1.75),(-0.91,1.735),(-0.894,1.71),(-0.89,1.697),(-0.883,1.69),(-0.87,1.654),(-0.861,1.64),(-0.86,1.629),(-0.852,1.62),(-0.85,1.6),(-1.119,1.6),(-1.16,1.604),(-1.215,1.6)],
  [(-0.268,1.6),(-0.229,1.64),(-0.22,1.655),(-0.218,1.67),(-0.21,1.68),(-0.209,1.69),(-0.21,1.733),(-0.216,1.74),(-0.219,1.76),(-0.228,1.77),(-0.23,1.784),(-0.236,1.79),(-0.24,1.812),(-0.249,1.83),(-0.249,1.85),(0.209,1.85),(0.217,1.84),(0.22,1.828),(0.228,1.82),(0.23,1.805),(0.239,1.79),(0.24,1.665),(0.248,1.65),(0.25,1.637),(0.257,1.63),(0.259,1.62),(0.279,1.6)],
  [(0.532,1.6),(0.541,1.61),(0.541,1.62),(0.55,1.633),(0.563,1.67),(0.571,1.68),(0.577,1.72),(0.57,1.753),(0.563,1.76),(0.561,1.77),(0.552,1.78),(0.55,1.79),(0.541,1.8),(0.54,1.811),(0.533,1.82),(0.534,1.85),(1.009,1.85),(1.027,1.83),(1.03,1.82),(1.04,1.808),(1.07,1.779),(1.08,1.777),(1.09,1.769),(1.11,1.767),(1.12,1.76),(1.15,1.757),(1.16,1.749),(1.17,1.748),(1.218,1.7),(1.219,1.69),(1.227,1.68),(1.229,1.67),(1.229,1.6),(0.971,1.6),(0.97,1.609),(0.949,1.64),(0.936,1.65),(0.93,1.651),(0.921,1.66),(0.9,1.664),(0.892,1.67),(0.88,1.671),(0.845,1.67),(0.83,1.662),(0.816,1.66),(0.787,1.64),(0.75,1.6)],
  [(-1.5,1.85),(-1.5,1.86),(-1.47,1.868),(-1.449,1.87),(-1.44,1.878),(-1.429,1.88),(-1.39,1.918),(-1.38,1.932),(-1.377,1.95),(-1.37,1.959),(-1.371,2.02),(-0.831,2.02),(-0.83,2.01),(-0.822,2),(-0.82,1.97),(-0.824,1.94),(-0.86,1.901),(-0.89,1.881),(-0.92,1.85)],
  [(-0.52,1.901),(-0.53,1.903),(-0.538,1.91),(-0.56,1.914),(-0.566,1.92),(-0.58,1.925),(-0.59,1.931),(-0.619,1.96),(-0.629,1.98),(-0.636,2.01),(-0.635,2.02),(-0.361,2.02),(-0.364,2.01),(-0.37,2.004),(-0.373,1.99),(-0.381,1.98),(-0.383,1.97),(-0.4,1.95),(-0.404,1.94),(-0.42,1.924),(-0.46,1.902)],
  [(-0.249,1.85),(-0.246,1.88),(-0.24,1.886),(-0.239,1.9),(-0.23,1.91),(-0.229,1.92),(-0.219,1.93),(-0.208,1.95),(-0.18,1.98),(-0.149,2.02),(0.199,2.02),(0.189,2),(0.188,1.98),(0.18,1.968),(0.179,1.91),(0.189,1.89),(0.19,1.879),(0.199,1.87),(0.2,1.861),(0.209,1.85)],
  [(0.534,1.85),(0.54,1.857),(0.543,1.87),(0.58,1.92),(0.583,1.95),(0.58,1.991),(0.572,2),(0.571,2.01),(0.562,2.02),(0.791,2.02),(0.798,1.99),(0.8,1.959),(0.808,1.95),(0.81,1.934),(0.829,1.9),(0.851,1.88),(0.86,1.879),(0.878,1.87),(0.91,1.87),(0.93,1.877),(0.96,1.878),(0.99,1.868),(1.009,1.85)],
  [(1.4,1.963),(1.36,1.972),(1.322,2.01),(1.32,2.02),(1.5,2.02),(1.5,1.979),(1.48,1.978),(1.46,1.972),(1.421,1.97),(1.41,1.964)],
  [(-1.371,2.02),(-1.379,2.04),(-1.38,2.09),(-1.377,2.12),(-1.37,2.127),(-1.358,2.15),(-1.329,2.18),(-1.325,2.19),(-0.811,2.19),(-0.831,2.17),(-0.84,2.157),(-0.841,2.15),(-0.85,2.14),(-0.852,2.12),(-0.86,2.101),(-0.86,2.09),(-0.852,2.07),(-0.85,2.052),(-0.841,2.04),(-0.84,2.03),(-0.831,2.02)],
  [(-0.635,2.02),(-0.63,2.029),(-0.626,2.07),(-0.62,2.079),(-0.62,2.111),(-0.627,2.12),(-0.63,2.14),(-0.65,2.165),(-0.678,2.19),(-0.45,2.19),(-0.43,2.169),(-0.38,2.138),(-0.362,2.12),(-0.351,2.1),(-0.352,2.04),(-0.36,2.03),(-0.361,2.02)],
  [(-0.149,2.02),(-0.147,2.03),(-0.14,2.037),(-0.136,2.05),(-0.13,2.057),(-0.129,2.07),(-0.119,2.09),(-0.119,2.16),(-0.12,2.169),(-0.128,2.18),(-0.129,2.19),(0.185,2.19),(0.183,2.18),(0.189,2.15),(0.189,2.13),(0.199,2.11),(0.199,2.02)],
  [(0.562,2.02),(0.56,2.027),(0.54,2.05),(0.526,2.06),(0.52,2.061),(0.511,2.07),(0.5,2.071),(0.49,2.08),(0.48,2.081),(0.471,2.09),(0.46,2.094),(0.443,2.11),(0.431,2.13),(0.43,2.14),(0.422,2.15),(0.421,2.19),(1.5,2.19),(1.5,2.02),(1.32,2.02),(1.292,2.06),(1.269,2.08),(1.26,2.081),(1.23,2.083),(1.19,2.08),(1.18,2.072),(1.16,2.07),(1.15,2.062),(1.09,2.061),(1.061,2.08),(1.041,2.1),(1.03,2.119),(1.01,2.14),(1,2.143),(0.99,2.151),(0.97,2.152),(0.928,2.15),(0.92,2.143),(0.903,2.14),(0.89,2.131),(0.88,2.13),(0.87,2.121),(0.86,2.12),(0.84,2.104),(0.83,2.1),(0.81,2.08),(0.808,2.07),(0.799,2.06),(0.791,2.02)],
  [(-1.325,2.19),(-1.32,2.196),(-1.316,2.22),(-1.319,2.25),(-1.327,2.26),(-1.33,2.27),(-1.389,2.33),(-1.39,2.337),(-1.399,2.35),(-1.4,2.36),(-1.408,2.37),(-1.411,2.43),(-1.41,2.5),(-1.222,2.5),(-1.22,2.453),(-1.212,2.44),(-1.21,2.425),(-1.2,2.403),(-1.183,2.38),(-1.18,2.37),(-1.16,2.35),(-1.146,2.34),(-1.14,2.339),(-1.131,2.33),(-1.11,2.327),(-1.099,2.32),(-1.08,2.319),(-1.066,2.32),(-1.05,2.328),(-1.03,2.33),(-1.02,2.339),(-1,2.349),(-0.979,2.37),(-0.969,2.39),(-0.96,2.4),(-0.958,2.42),(-0.95,2.437),(-0.949,2.5),(-0.362,2.5),(-0.362,2.48),(-0.37,2.463),(-0.372,2.44),(-0.38,2.431),(-0.382,2.42),(-0.46,2.343),(-0.471,2.33),(-0.472,2.32),(-0.48,2.309),(-0.48,2.26),(-0.473,2.25),(-0.471,2.23),(-0.462,2.22),(-0.461,2.21),(-0.452,2.2),(-0.45,2.19),(-0.678,2.19),(-0.69,2.2),(-0.7,2.201),(-0.711,2.21),(-0.74,2.212),(-0.78,2.21),(-0.79,2.201),(-0.799,2.2),(-0.811,2.19)],
  [(-0.129,2.19),(-0.137,2.2),(-0.139,2.21),(-0.149,2.22),(-0.15,2.227),(-0.168,2.25),(-0.169,2.26),(-0.178,2.27),(-0.18,2.291),(-0.186,2.3),(-0.188,2.32),(-0.187,2.33),(-0.18,2.341),(-0.179,2.36),(-0.17,2.37),(-0.169,2.38),(-0.159,2.39),(-0.156,2.4),(-0.129,2.43),(-0.119,2.45),(-0.11,2.46),(-0.1,2.5),(1.5,2.5),(1.5,2.19),(0.421,2.19),(0.42,2.199),(0.412,2.21),(0.41,2.227),(0.401,2.24),(0.38,2.26),(0.36,2.264),(0.352,2.27),(0.34,2.271),(0.276,2.27),(0.26,2.262),(0.239,2.26),(0.23,2.252),(0.22,2.251),(0.191,2.22),(0.185,2.19)],
  [(-0.34,-0.641),(-0.39,-0.638),(-0.4,-0.629),(-0.41,-0.628),(-0.44,-0.603),(-0.459,-0.58),(-0.469,-0.56),(-0.47,-0.549),(-0.478,-0.54),(-0.479,-0.47),(-0.477,-0.46),(-0.47,-0.453),(-0.468,-0.44),(-0.42,-0.393),(-0.402,-0.39),(-0.39,-0.382),(-0.31,-0.382),(-0.296,-0.39),(-0.28,-0.391),(-0.269,-0.4),(-0.26,-0.401),(-0.224,-0.43),(-0.205,-0.46),(-0.201,-0.47),(-0.2,-0.49),(-0.194,-0.5),(-0.193,-0.52),(-0.2,-0.535),(-0.202,-0.56),(-0.211,-0.57),(-0.212,-0.58),(-0.241,-0.61),(-0.25,-0.618),(-0.258,-0.62),(-0.27,-0.629),(-0.28,-0.63),(-0.29,-0.638)])
final_mode_conv_1_0.add(gdstk.FlexPath([(0,-4),(0,-4.1)], 0.726, ends="flush", simple_path=True, layer=1, datatype=10))  # PinRec
final_mode_conv_1_0.add(gdstk.FlexPath([(0,4),(0,4.1)], 0.726, ends="flush", simple_path=True, layer=1, datatype=10))  # PinRec
final_mode_conv_1_0.add(gdstk.Label('opt1', (0,-4.05), layer=1, texttype=10))
final_mode_conv_1_0.add(gdstk.Label('opt2', (0,4.05), layer=1, texttype=10))

lib.write_gds('final_mode_conv_1_0.gds')
